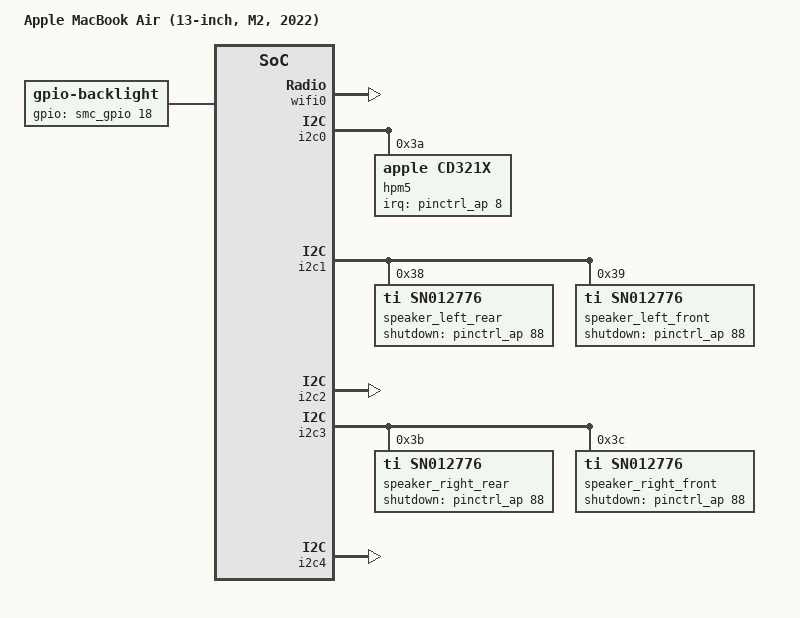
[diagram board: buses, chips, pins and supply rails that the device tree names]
// SPDX-License-Identifier: GPL-2.0+ OR MIT
/*
 * Apple MacBook Air (M2, 2022)
 *
 * target-type: J413
 *
 * Copyright The Asahi Linux Contributors
 */

/dts-v1/;

#include "t8112.dtsi"
#include "t8112-jxxx.dtsi"

/ {
	compatible = "apple,j413", "apple,t8112", "apple,arm-platform";
	model = "Apple MacBook Air (13-inch, M2, 2022)";

	aliases {
		wifi0 = &wifi0;
		bluetooth0 = &bluetooth0;
	};
};

/*
 * Force the bus number assignments so that we can declare some of the
 * on-board devices and properties that are populated by the bootloader
 * (such as MAC addresses).
 */
&port00 {
	bus-range = <1 1>;
	pwren-gpios = <&smc_gpio 13 GPIO_ACTIVE_HIGH>;
	wifi0: wifi@0,0 {
		compatible = "pci14e4,4433";
		reg = <0x10000 0x0 0x0 0x0 0x0>;
		/* To be filled by the loader */
		local-mac-address = [00 10 18 00 00 10];
		apple,antenna-sku = "XX";
		brcm,board-type = "apple,hokkaido";
	};

	bluetooth0: network@0,1 {
		compatible = "pci14e4,5f71";
		reg = <0x10100 0x0 0x0 0x0 0x0>;
		/* To be filled by the loader */
		local-bd-address = [00 00 00 00 00 00];
		brcm,board-type = "apple,hokkaido";
	};
};

/*
 * Provide labels for the USB type C ports.
 */

&typec0 {
	label = "USB-C Left-back";
};

&typec1 {
	label = "USB-C Left-front";
};

/*
 * Remove unused PCIe ports and disable the associated DARTs.
 */

/delete-node/ &port01;
/delete-node/ &port02;
/delete-node/ &port03;

&i2c0 {
	/* MagSafe port */
	hpm5: usb-pd@3a {
		compatible = "apple,cd321x";
		reg = <0x3a>;
		interrupt-parent = <&pinctrl_ap>;
		interrupts = <8 IRQ_TYPE_LEVEL_LOW>;
		interrupt-names = "irq";
	};
};

&i2c1 {
	speaker_left_rear: codec@38 {
		compatible = "ti,sn012776", "ti,tas2764";
		reg = <0x38>;
		shutdown-gpios = <&pinctrl_ap 88 GPIO_ACTIVE_HIGH>;
		#sound-dai-cells = <0>;
		sound-name-prefix = "Left Rear";
	};

	speaker_left_front: codec@39 {
		compatible = "ti,sn012776", "ti,tas2764";
		reg = <0x39>;
		shutdown-gpios = <&pinctrl_ap 88 GPIO_ACTIVE_HIGH>;
		#sound-dai-cells = <0>;
		sound-name-prefix = "Left Front";
	};
};

&i2c2 {
	status = "okay";
};

&i2c3 {
	speaker_right_rear: codec@3b {
		compatible = "ti,sn012776", "ti,tas2764";
		reg = <0x3b>;
		shutdown-gpios = <&pinctrl_ap 88 GPIO_ACTIVE_HIGH>;
		#sound-dai-cells = <0>;
		sound-name-prefix = "Right Rear";
	};

	speaker_right_front: codec@3c {
		compatible = "ti,sn012776", "ti,tas2764";
		reg = <0x3c>;
		shutdown-gpios = <&pinctrl_ap 88 GPIO_ACTIVE_HIGH>;
		#sound-dai-cells = <0>;
		sound-name-prefix = "Right Front";
	};
};

&i2c4 {
	status = "okay";
};

/ {
	backlight: gpio-bl {
		compatible = "gpio-backlight";
		gpios = <&smc_gpio 18 GPIO_ACTIVE_HIGH>;
		default-on;
	};

	sound {
		compatible = "apple,j413-macaudio", "apple,macaudio";
		model = "MacBook Pro J413 integrated audio";

		dai-link@0 {
			/*
			 * DANGER ZONE: You can blow your speakers!
			 *
			 * The drivers are not ready, and unless you are careful
			 * to attenuate the audio stream, you run the risk of
			 * blowing your speakers.
			 */
			status = "disabled";

			link-name = "Speakers";
			mclk-fs = <64>;

			cpu {
				sound-dai = <&mca 0>, <&mca 1>;
			};
			codec {
				sound-dai = <&speaker_left_front>, <&speaker_right_front>,
					<&speaker_left_rear>, <&speaker_right_rear>;
			};
		};
#if 0
		dai-link@1 {
			link-name = "Headphone Jack";
			mclk-fs = <64>;

			cpu {
				sound-dai = <&mca 2>;
			};
			codec {
				sound-dai = <&jack_codec>;
			};
		};
#endif
	};
};

&framebuffer0 {
	backlight = <&backlight>;
};

&mtp_hid {
	multi-touch {
		firmware-name = "apple/tpmtfw-j413.bin";
	};
};
